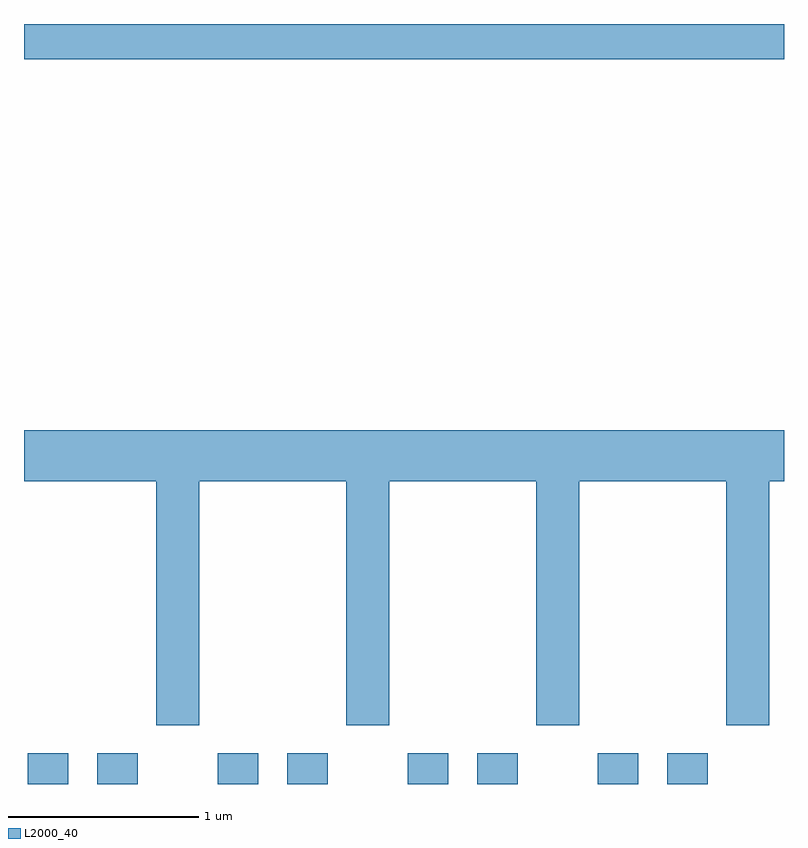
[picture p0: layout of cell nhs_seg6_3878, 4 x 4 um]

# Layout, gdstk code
import gdstk
lib = gdstk.Library(unit=1e-6, precision=1e-09)
def R(c, l, rs):  # rectangles x0, y0, x1, y1
    for r in rs: c.add(gdstk.rectangle(r[:2], r[2:], *l))
def P(c, l, *ps):  # polygons
    for p in ps: c.add(gdstk.Polygon(p, *l))
L2000_40 = (2000, 40)

nhs_seg6_3878 = lib.new_cell('nhs_seg6_3878')
R(nhs_seg6_3878, L2000_40, [(301.631,1606.162,301.844,1606.324), (301.996,1606.162,302.209,1606.324), (302.631,1606.162,302.844,1606.324), (302.996,1606.162,303.209,1606.324), (303.631,1606.162,303.844,1606.324), (303.996,1606.162,304.209,1606.324), (304.631,1606.162,304.844,1606.324), (304.996,1606.162,305.209,1606.324), (301.611,1609.976,305.611,1610.162)])
P(nhs_seg6_3878, L2000_40, [(302.534,1607.756),(303.306,1607.756),(303.306,1606.471),(303.534,1606.471),(303.534,1607.756),(304.306,1607.756),(304.306,1606.471),(304.534,1606.471),(304.534,1607.756),(305.306,1607.756),(305.306,1606.471),(305.534,1606.471),(305.534,1607.756),(305.611,1607.756),(305.611,1608.024),(301.611,1608.024),(301.611,1607.756),(302.306,1607.756),(302.306,1606.471),(302.534,1606.471)])

lib.write_gds('nhs_seg6_3878.gds')
